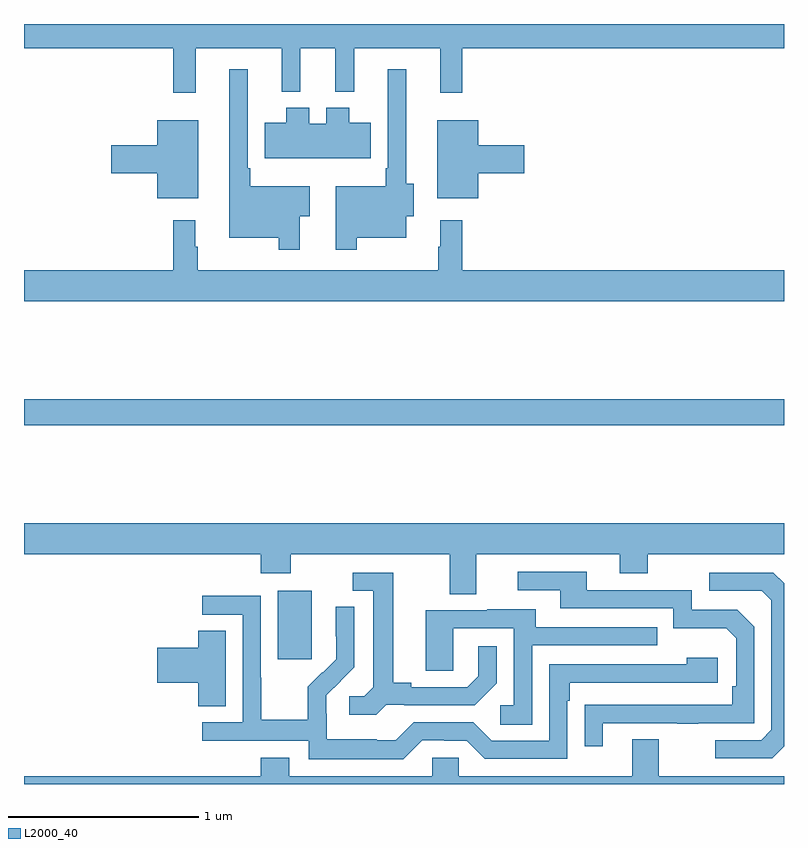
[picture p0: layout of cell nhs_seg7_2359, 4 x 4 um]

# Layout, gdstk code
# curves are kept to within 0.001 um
import gdstk
lib = gdstk.Library(unit=1e-6, precision=1e-09)
def R(c, l, rs):  # rectangles x0, y0, x1, y1
    for r in rs: c.add(gdstk.rectangle(r[:2], r[2:], *l))
def P(c, l, *ps):  # polygons
    for p in ps: c.add(gdstk.Polygon(p, *l))
L2000_40 = (2000, 40)

nhs_seg7_2359 = lib.new_cell('nhs_seg7_2359')
R(nhs_seg7_2359, L2000_40, [(264.335,1074.657,264.514,1075.018), (263,1075.888,267,1076.024)])
P(nhs_seg7_2359, L2000_40, [(263.903,1077.872),(264.356,1077.872),(264.356,1077.644),(264.455,1077.644),(264.455,1077.872),(264.638,1077.872),(264.638,1077.644),(264.737,1077.644),(264.737,1077.872),(265.19,1077.872),(265.19,1077.639),(265.307,1077.639),(265.307,1077.872),(267,1077.872),(267,1078),(263,1078),(263,1077.872),(263.785,1077.872),(263.785,1077.639),(263.903,1077.639)],
  [(264.452,1076.987),(264.505,1076.987),(264.505,1077.145),(264.19,1077.145),(264.19,1077.241),(264.177,1077.241),(264.177,1077.763),(264.08,1077.763),(264.08,1076.876),(264.342,1076.876),(264.342,1076.811),(264.452,1076.811)],
  [(264.751,1076.876),(265.012,1076.876),(265.012,1076.987),(265.051,1076.987),(265.051,1077.158),(265.012,1077.158),(265.012,1077.763),(264.915,1077.763),(264.915,1077.241),(264.903,1077.241),(264.903,1077.145),(264.642,1077.145),(264.642,1076.811),(264.751,1076.811)],
  [(264.826,1077.481),(264.712,1077.481),(264.712,1077.559),(264.59,1077.559),(264.59,1077.474),(264.502,1077.474),(264.502,1077.559),(264.38,1077.559),(264.38,1077.481),(264.266,1077.481),(264.266,1077.293),(264.826,1077.293)],
  [(263.917,1077.493),(263.702,1077.493),(263.702,1077.362),(263.46,1077.362),(263.46,1077.215),(263.702,1077.215),(263.702,1077.083),(263.917,1077.083)],
  [(265.39,1077.215),(265.633,1077.215),(265.633,1077.362),(265.39,1077.362),(265.39,1077.493),(265.175,1077.493),(265.175,1077.083),(265.39,1077.083)],
  [(267,1076.704),(265.307,1076.704),(265.307,1076.968),(265.19,1076.968),(265.19,1076.828),(265.179,1076.828),(265.179,1076.704),(263.914,1076.704),(263.914,1076.828),(263.902,1076.828),(263.902,1076.968),(263.785,1076.968),(263.785,1076.704),(263,1076.704),(263,1076.54),(267,1076.54)],
  [(265.381,1075.208),(266.135,1075.208),(266.135,1075.109),(266.283,1075.109),(266.283,1075.208),(267,1075.208),(267,1075.372),(263,1075.372),(263,1075.208),(264.245,1075.208),(264.245,1075.109),(264.405,1075.109),(264.405,1075.208),(265.241,1075.208),(265.241,1075),(265.381,1075)],
  [(266.047,1074.321),(266.437,1074.321),(266.437,1074.316),(266.549,1074.316),(266.549,1074.321),(266.844,1074.321),(266.844,1074.828),(266.754,1074.918),(266.514,1074.918),(266.514,1075.02),(265.963,1075.02),(265.963,1075.116),(265.599,1075.116),(265.599,1075.02),(265.823,1075.02),(265.823,1074.924),(266.418,1074.924),(266.418,1074.821),(266.695,1074.821),(266.748,1074.768),(266.748,1074.514),(266.728,1074.514),(266.728,1074.417),(265.951,1074.416),(265.951,1074.198),(266.047,1074.198)],
  [(264.906,1074.417),(265,1074.417),(265,1074.414),(265.372,1074.414),(265.488,1074.53),(265.488,1074.724),(265.391,1074.724),(265.391,1074.567),(265.334,1074.51),(265.039,1074.51),(265.039,1074.533),(264.943,1074.533),(264.943,1075.113),(264.729,1075.113),(264.729,1075.017),(264.839,1075.017),(264.839,1074.509),(264.792,1074.462),(264.711,1074.462),(264.711,1074.365),(264.854,1074.365)],
  [(267,1074.198),(267,1075.056),(266.943,1075.113),(266.607,1075.113),(266.607,1075.017),(266.883,1075.017),(266.934,1074.966),(266.934,1074.285),(266.88,1074.231),(266.637,1074.231),(266.637,1074.135),(266.937,1074.135)],
  [(265.095,1074.231),(265.211,1074.231),(265.211,1074.228),(265.329,1074.228),(265.425,1074.132),(265.86,1074.132),(265.86,1074.437),(265.873,1074.437),(265.873,1074.534),(266.65,1074.534),(266.65,1074.664),(266.489,1074.664),(266.489,1074.63),(265.764,1074.63),(265.764,1074.228),(265.461,1074.228),(265.365,1074.324),(265.05,1074.324),(264.957,1074.231),(264.857,1074.231),(264.857,1074.235),(264.594,1074.235),(264.594,1074.369),(264.592,1074.369),(264.592,1074.466),(264.738,1074.614),(264.738,1074.932),(264.642,1074.932),(264.642,1074.778),(264.644,1074.778),(264.644,1074.656),(264.573,1074.585),(264.57,1074.588),(264.493,1074.511),(264.493,1074.337),(264.249,1074.337),(264.249,1074.56),(264.246,1074.56),(264.246,1074.99),(263.937,1074.99),(263.937,1074.891),(264.15,1074.891),(264.15,1074.324),(263.937,1074.324),(263.937,1074.228),(264.498,1074.228),(264.498,1074.131),(264.995,1074.131)],
  [(265.674,1074.729),(266.333,1074.729),(266.333,1074.825),(265.693,1074.825),(265.693,1074.919),(265.439,1074.919),(265.439,1074.915),(265.115,1074.915),(265.115,1074.595),(265.26,1074.595),(265.26,1074.819),(265.578,1074.819),(265.578,1074.414),(265.506,1074.414),(265.506,1074.313),(265.674,1074.313)],
  [(264.061,1074.806),(263.918,1074.806),(263.918,1074.716),(263.7,1074.716),(263.7,1074.533),(263.918,1074.533),(263.918,1074.409),(264.061,1074.409)],
  [(267,1074.04),(266.341,1074.04),(266.341,1074.235),(266.201,1074.235),(266.201,1074.04),(265.287,1074.04),(265.287,1074.138),(265.149,1074.138),(265.149,1074.04),(264.397,1074.04),(264.397,1074.139),(264.245,1074.139),(264.245,1074.04),(263,1074.04),(263,1074),(267,1074)])

lib.write_gds('nhs_seg7_2359.gds')
